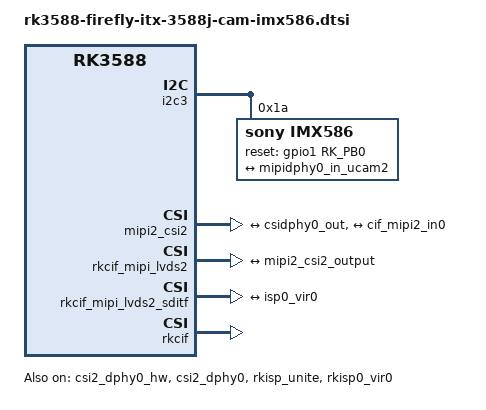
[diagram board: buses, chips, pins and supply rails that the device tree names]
// SPDX-License-Identifier: (GPL-2.0+ OR MIT)
/*
 * Copyright (c) 2021 Rockchip Electronics Co., Ltd.
 *
 */

&i2c3 {
	status = "okay";
	pinctrl-names = "default";
	pinctrl-0 = <&i2c3m0_xfer>;

	IMX586: IMX586@1a{
		status = "okay";
		compatible = "sony,imx586";
		reg = <0x1a>;
		clocks = <&cru CLK_MIPI_CAMARAOUT_M3>;
		clock-names = "xvclk";
		pinctrl-names = "default";
		pinctrl-0 = <&mipim0_camera3_clk>;
		power-domains = <&power RK3588_PD_VI>;

                reset-gpios = <&gpio1 RK_PB0 GPIO_ACTIVE_HIGH>;
                //pwdn-gpios = <&gpio1 RK_PA7 GPIO_ACTIVE_HIGH>;
		//eeprom-ctrl = <&otp_eeprom>;

		rockchip,camera-module-index = <0>;
		rockchip,camera-module-facing = "front";
		rockchip,camera-module-name = "default";
		rockchip,camera-module-lens-name = "default";

		port {
			imx586_out: endpoint {
				remote-endpoint = <&mipidphy0_in_ucam2>;
				data-lanes = <1 2 3 4>;
			};
		};
	};
	
	otp_eeprom: otp_eeprom@50 {
		compatible = "rk,otp_eeprom";
		status = "disabled";
		reg = <0x50>;
	};

};

&csi2_dphy0_hw {
	status = "okay";
};

&csi2_dphy0 {
	status = "okay";
	ports {
		#address-cells = <1>;
		#size-cells = <0>;
		port@0 {
			reg = <0>;
			#address-cells = <1>;
			#size-cells = <0>;
			mipidphy0_in_ucam2: endpoint@2 {
				reg = <2>;
				remote-endpoint = <&imx586_out>;
				data-lanes = <1 2 3 4>;
			};
		};
		port@1 {
			reg = <1>;
			#address-cells = <1>;
			#size-cells = <0>;
			csidphy0_out: endpoint@0 {
				reg = <0>;
				remote-endpoint = <&mipi2_csi2_input>;
			};
		};
	};
};

&mipi2_csi2 {
	status = "okay";
	ports {
		#address-cells = <1>;
		#size-cells = <0>;
		port@0 {
			reg = <0>;
			#address-cells = <1>;
			#size-cells = <0>;
			mipi2_csi2_input: endpoint@0 {
				reg = <0>;
				remote-endpoint = <&csidphy0_out>;
			};
		};

		port@1 {
			reg = <1>;
			#address-cells = <1>;
			#size-cells = <0>;

			mipi2_csi2_output: endpoint@0 {
				reg = <0>;
				remote-endpoint = <&cif_mipi2_in0>;
			};
		};
	};
};

&rkcif_mipi_lvds2 {
	status = "okay";
	port {
		cif_mipi2_in0: endpoint {
			remote-endpoint = <&mipi2_csi2_output>;
		};
	};
};

&rkcif_mipi_lvds2_sditf {
	status = "okay";
	port {
		mipi_lvds2_sditf: endpoint {
			remote-endpoint = <&isp0_vir0>;
		};	
	};
};

#if 0
&rkisp0 {
	status = "okay";
};

&isp0_mmu {
	status = "okay";
};

#else //sensor分辨率大于16M(4672x3504)需要2个isp合成处理
/* dual isp case need width 32 align， height 8 align */
&rkisp_unite_mmu {
        status = "okay";
};

&rkisp_unite {
        status = "okay";
};

&rkisp0_vir0 {
        status = "okay";
        rockchip,hw = <&rkisp_unite>;
};
#endif

&rkisp0_vir0 {
	status = "okay";
	port {
		#address-cells = <1>;
		#size-cells = <0>;
		isp0_vir0: endpoint@0 {
			reg = <0>;
			remote-endpoint = <&mipi_lvds2_sditf>;
		};
	};
};

&rkcif {
	status = "okay";
};

&rkcif_mmu {
	status = "okay";
};


